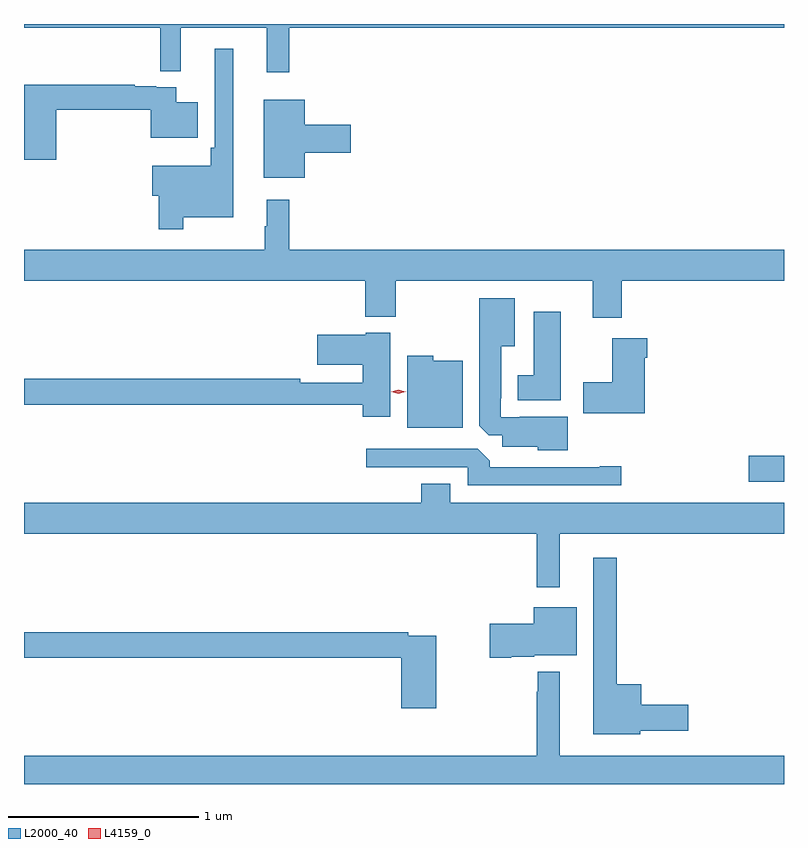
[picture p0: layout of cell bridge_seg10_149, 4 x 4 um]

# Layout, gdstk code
import gdstk
lib = gdstk.Library(unit=1e-6, precision=1e-09)
def R(c, l, rs):  # rectangles x0, y0, x1, y1
    for r in rs: c.add(gdstk.rectangle(r[:2], r[2:], *l))
def P(c, l, *ps):  # polygons
    for p in ps: c.add(gdstk.Polygon(p, *l))
L2000_40 = (2000, 40)
L4159_0 = (4159, 0)

bridge_seg10_149 = lib.new_cell('bridge_seg10_149')
R(bridge_seg10_149, L2000_40, [(317.01,1301.924,317.196,1302.059)])
P(bridge_seg10_149, L2000_40, [(314.591,1304.312),(317.196,1304.312),(317.196,1304.332),(313.196,1304.332),(313.196,1304.312),(313.912,1304.312),(313.912,1304.083),(314.021,1304.083),(314.021,1304.312),(314.474,1304.312),(314.474,1304.079),(314.591,1304.079)],
  [(314.035,1303.316),(314.296,1303.316),(314.296,1304.203),(314.199,1304.203),(314.199,1303.681),(314.179,1303.681),(314.179,1303.585),(313.872,1303.585),(313.872,1303.427),(313.906,1303.427),(313.906,1303.251),(314.035,1303.251)],
  [(313.367,1303.882),(313.862,1303.882),(313.862,1303.733),(314.11,1303.733),(314.11,1303.921),(313.996,1303.921),(313.996,1303.998),(313.892,1303.998),(313.892,1304.004),(313.778,1304.004),(313.778,1304.011),(313.196,1304.011),(313.196,1303.617),(313.367,1303.617)],
  [(314.674,1303.655),(314.917,1303.655),(314.917,1303.802),(314.674,1303.802),(314.674,1303.933),(314.459,1303.933),(314.459,1303.523),(314.674,1303.523)],
  [(314.591,1303.408),(314.474,1303.408),(314.474,1303.268),(314.463,1303.268),(314.463,1303.144),(313.196,1303.144),(313.196,1302.98),(314.993,1302.98),(314.993,1302.791),(315.153,1302.791),(315.153,1302.98),(316.19,1302.98),(316.19,1302.786),(316.343,1302.786),(316.343,1302.98),(317.196,1302.98),(317.196,1303.144),(314.591,1303.144)],
  [(316.057,1302.265),(315.805,1302.265),(315.805,1302.261),(315.705,1302.261),(315.705,1302.361),(315.709,1302.361),(315.709,1302.635),(315.778,1302.635),(315.778,1302.889),(315.593,1302.889),(315.593,1302.217),(315.642,1302.168),(315.713,1302.168),(315.713,1302.107),(315.9,1302.107),(315.9,1302.089),(316.057,1302.089)],
  [(316.021,1302.817),(315.878,1302.817),(315.878,1302.484),(315.794,1302.484),(315.794,1302.353),(316.021,1302.353)],
  [(315.124,1302.706),(314.994,1302.706),(314.994,1302.697),(314.739,1302.697),(314.739,1302.539),(314.978,1302.539),(314.978,1302.444),(314.651,1302.444),(314.651,1302.464),(313.196,1302.464),(313.196,1302.328),(314.978,1302.328),(314.978,1302.264),(315.124,1302.264)],
  [(316.462,1302.575),(316.475,1302.575),(316.475,1302.679),(316.292,1302.679),(316.292,1302.447),(316.14,1302.447),(316.14,1302.284),(316.462,1302.284)],
  [(315.505,1302.559),(315.351,1302.559),(315.351,1302.586),(315.212,1302.586),(315.212,1302.206),(315.505,1302.206)],
  [(316.339,1302.005),(316.226,1302.005),(316.226,1302),(315.647,1302),(315.647,1302.034),(315.585,1302.096),(314.997,1302.096),(314.997,1302),(315.531,1302),(315.531,1301.904),(316.339,1301.904)],
  [(316.015,1301.648),(317.196,1301.648),(317.196,1301.812),(315.439,1301.812),(315.439,1301.911),(315.287,1301.911),(315.287,1301.812),(313.196,1301.812),(313.196,1301.648),(315.894,1301.648),(315.894,1301.367),(316.015,1301.367)],
  [(316.44,1300.613),(316.693,1300.613),(316.693,1300.748),(316.444,1300.748),(316.444,1300.858),(316.315,1300.858),(316.315,1301.524),(316.193,1301.524),(316.193,1300.595),(316.44,1300.595)],
  [(315.76,1301.003),(315.882,1301.003),(315.882,1301.009),(316.105,1301.009),(316.105,1301.263),(315.878,1301.263),(315.878,1301.175),(315.648,1301.175),(315.648,1300.997),(315.76,1300.997)],
  [(315.365,1301.112),(315.218,1301.112),(315.218,1301.132),(313.196,1301.132),(313.196,1300.996),(315.182,1300.996),(315.182,1300.731),(315.365,1300.731)],
  [(317.196,1300.48),(316.015,1300.48),(316.015,1300.924),(315.901,1300.924),(315.901,1300.817),(315.894,1300.817),(315.894,1300.48),(313.196,1300.48),(313.196,1300.332),(317.196,1300.332)])
P(bridge_seg10_149, L4159_0, [(315.166,1302.386),(315.128,1302.396),(315.128,1302.396),(315.128,1302.396),(315.166,1302.406),(315.205,1302.396),(315.205,1302.396),(315.205,1302.396)])

lib.write_gds('bridge_seg10_149.gds')
